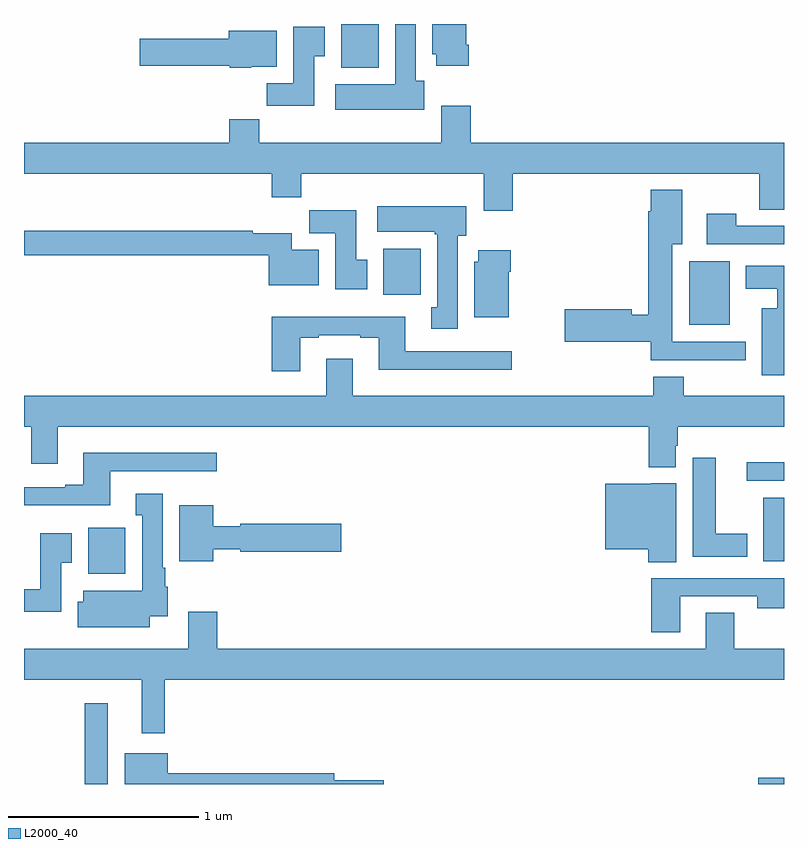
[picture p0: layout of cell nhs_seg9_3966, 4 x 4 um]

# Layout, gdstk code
import gdstk
lib = gdstk.Library(unit=1e-6, precision=1e-09)
def R(c, l, rs):  # rectangles x0, y0, x1, y1
    for r in rs: c.add(gdstk.rectangle(r[:2], r[2:], *l))
def P(c, l, *ps):  # polygons
    for p in ps: c.add(gdstk.Polygon(p, *l))
L2000_40 = (2000, 40)

nhs_seg9_3966 = lib.new_cell('nhs_seg9_3966')
R(nhs_seg9_3966, L2000_40, [(337.32,1234.5,337.441,1234.924), (340.865,1234.5,341,1234.532), (337.337,1235.606,337.534,1235.848), (340.892,1235.672,341,1236.007), (340.803,1236.096,341,1236.194), (340.502,1236.917,340.714,1237.252), (338.891,1237.076,339.088,1237.318), (338.669,1238.27,338.866,1238.5)])
P(nhs_seg9_3966, L2000_40, [(339.341,1238.392),(339.328,1238.392),(339.328,1238.5),(339.149,1238.5),(339.149,1238.34),(339.17,1238.34),(339.17,1238.28),(339.341,1238.28)],
  [(339.106,1238.202),(339.061,1238.202),(339.061,1238.5),(338.954,1238.5),(338.954,1238.182),(338.637,1238.182),(338.637,1238.048),(339.106,1238.048)],
  [(338.527,1238.329),(338.584,1238.329),(338.584,1238.485),(338.417,1238.485),(338.417,1238.188),(338.278,1238.188),(338.278,1238.07),(338.527,1238.07)],
  [(338.196,1238.276),(338.329,1238.276),(338.329,1238.464),(338.078,1238.464),(338.078,1238.423),(337.608,1238.423),(337.608,1238.281),(338.082,1238.281),(338.082,1238.27),(338.196,1238.27)],
  [(339.572,1237.712),(340.87,1237.712),(340.87,1237.522),(341,1237.522),(341,1237.876),(339.35,1237.876),(339.35,1238.071),(339.197,1238.071),(339.197,1237.876),(338.237,1237.876),(338.237,1238),(338.081,1238),(338.081,1237.876),(337,1237.876),(337,1237.712),(338.303,1237.712),(338.303,1237.588),(338.459,1237.588),(338.459,1237.712),(339.419,1237.712),(339.419,1237.518),(339.572,1237.518)],
  [(340.798,1236.828),(340.411,1236.828),(340.411,1237.34),(340.465,1237.34),(340.465,1237.627),(340.298,1237.627),(340.298,1237.514),(340.286,1237.514),(340.286,1236.97),(340.198,1236.97),(340.198,1236.998),(339.846,1236.998),(339.846,1236.827),(340.298,1236.827),(340.298,1236.731),(340.798,1236.731)],
  [(339.283,1237.386),(339.328,1237.386),(339.328,1237.54),(338.859,1237.54),(338.859,1237.406),(339.163,1237.406),(339.163,1237.393),(339.176,1237.393),(339.176,1237.01),(339.143,1237.01),(339.143,1236.897),(339.283,1236.897)],
  [(338.806,1237.26),(338.749,1237.26),(338.749,1237.519),(338.5,1237.519),(338.5,1237.4),(338.639,1237.4),(338.639,1237.104),(338.806,1237.104)],
  [(341,1237.437),(340.749,1237.437),(340.749,1237.501),(340.593,1237.501),(340.593,1237.341),(341,1237.341)],
  [(338.551,1237.312),(338.41,1237.312),(338.41,1237.4),(338.204,1237.4),(338.204,1237.411),(337,1237.411),(337,1237.282),(338.288,1237.282),(338.288,1237.124),(338.551,1237.124)],
  [(339.55,1237.196),(339.563,1237.196),(339.563,1237.309),(339.392,1237.309),(339.392,1237.248),(339.371,1237.248),(339.371,1236.956),(339.55,1236.956)],
  [(341,1237.228),(340.799,1237.228),(340.799,1237.106),(340.964,1237.106),(340.964,1237.003),(340.883,1237.003),(340.883,1236.651),(341,1236.651)],
  [(338.455,1236.849),(338.551,1236.849),(338.551,1236.861),(338.771,1236.861),(338.771,1236.849),(338.867,1236.849),(338.867,1236.68),(339.568,1236.68),(339.568,1236.777),(339.007,1236.777),(339.007,1236.958),(338.303,1236.958),(338.303,1236.672),(338.455,1236.672)],
  [(340.429,1236.279),(340.442,1236.279),(340.442,1236.38),(341,1236.38),(341,1236.544),(340.473,1236.544),(340.473,1236.643),(340.313,1236.643),(340.313,1236.544),(338.731,1236.544),(338.731,1236.739),(338.591,1236.739),(338.591,1236.544),(337,1236.544),(337,1236.38),(337.037,1236.38),(337.037,1236.186),(337.177,1236.186),(337.177,1236.38),(340.289,1236.38),(340.289,1236.167),(340.429,1236.167)],
  [(337.453,1236.147),(338.014,1236.147),(338.014,1236.244),(337.313,1236.244),(337.313,1236.076),(337.217,1236.076),(337.217,1236.063),(337,1236.063),(337,1235.966),(337.453,1235.966)],
  [(340.807,1235.818),(340.642,1235.818),(340.642,1236.217),(340.52,1236.217),(340.52,1235.696),(340.807,1235.696)],
  [(340.432,1236.082),(340.302,1236.082),(340.302,1236.079),(340.058,1236.079),(340.058,1235.735),(340.286,1235.735),(340.286,1235.668),(340.432,1235.668)],
  [(337.663,1235.384),(337.756,1235.384),(337.756,1235.538),(337.744,1235.538),(337.744,1235.638),(337.729,1235.638),(337.729,1236.028),(337.589,1236.028),(337.589,1235.915),(337.622,1235.915),(337.622,1235.518),(337.313,1235.518),(337.313,1235.459),(337.283,1235.459),(337.283,1235.324),(337.663,1235.324)],
  [(337.996,1235.736),(338.139,1235.736),(338.139,1235.723),(338.671,1235.723),(338.671,1235.87),(338.139,1235.87),(338.139,1235.857),(337.996,1235.857),(337.996,1235.968),(337.817,1235.968),(337.817,1235.672),(337.996,1235.672)],
  [(337.195,1235.665),(337.252,1235.665),(337.252,1235.821),(337.085,1235.821),(337.085,1235.524),(337,1235.524),(337,1235.406),(337.195,1235.406)],
  [(340.453,1235.487),(340.858,1235.487),(340.858,1235.424),(341,1235.424),(341,1235.583),(340.301,1235.583),(340.301,1235.298),(340.453,1235.298)],
  [(337.741,1235.048),(341,1235.048),(341,1235.212),(340.737,1235.212),(340.737,1235.402),(340.589,1235.402),(340.589,1235.212),(338.018,1235.212),(338.018,1235.407),(337.865,1235.407),(337.865,1235.212),(337,1235.212),(337,1235.048),(337.619,1235.048),(337.619,1234.767),(337.741,1234.767)],
  [(338.893,1234.52),(338.632,1234.52),(338.632,1234.556),(337.756,1234.556),(337.756,1234.663),(337.529,1234.663),(337.529,1234.5),(338.893,1234.5)])

lib.write_gds('nhs_seg9_3966.gds')
